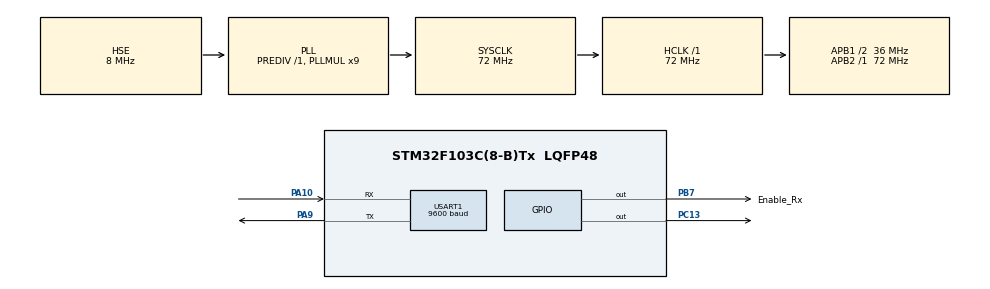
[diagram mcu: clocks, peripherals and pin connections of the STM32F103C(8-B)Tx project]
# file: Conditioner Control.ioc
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Mcu.Family=STM32F1
Mcu.Name=STM32F103C(8-B)Tx
Mcu.Package=LQFP48
NVIC.PriorityGroup=NVIC_PRIORITYGROUP_4
NVIC.USART1_IRQn=true\:0\:0\:false\:false\:true\:true\:true
PA10.Mode=Asynchronous
PA10.Signal=USART1_RX
PA13.Mode=Serial_Wire
PA13.Signal=SYS_JTMS-SWDIO
PA14.Mode=Serial_Wire
PA14.Signal=SYS_JTCK-SWCLK
PA9.Mode=Asynchronous
PA9.Signal=USART1_TX
PB7.GPIO_Label=Enable_Rx
PB7.Signal=GPIO_Output
PC13-TAMPER-RTC.Signal=GPIO_Output
PD0-OSC_IN.Mode=HSE-External-Oscillator
PD0-OSC_IN.Signal=RCC_OSC_IN
PD1-OSC_OUT.Mode=HSE-External-Oscillator
PD1-OSC_OUT.Signal=RCC_OSC_OUT
ProjectManager.HeapSize=0x200
ProjectManager.StackSize=0x400
ProjectManager.TargetToolchain=MDK-ARM V5.27
RCC.AHBFreq_Value=72000000
RCC.APB1CLKDivider=RCC_HCLK_DIV2
RCC.APB1Freq_Value=36000000
RCC.APB1TimFreq_Value=72000000
RCC.APB2Freq_Value=72000000
RCC.APB2TimFreq_Value=72000000
RCC.HCLKFreq_Value=72000000
RCC.PLLMUL=RCC_PLL_MUL9
RCC.PLLSourceVirtual=RCC_PLLSOURCE_HSE
RCC.SYSCLKFreq_VALUE=72000000
RCC.SYSCLKSource=RCC_SYSCLKSOURCE_PLLCLK
RCC.USBFreq_Value=72000000
USART1.BaudRate=9600
USART1.VirtualMode=VM_ASYNC
board=custom

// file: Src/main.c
/* USER CODE BEGIN Header */
/**
  ******************************************************************************
  * @file           : main.c
  * @brief          : Main program body
  ******************************************************************************
  * @attention
  *
  * <h2><center>&copy; Copyright (c) 2020 STMicroelectronics.
  * All rights reserved.</center></h2>
  *
  * This software component is licensed by ST under BSD 3-Clause license,
  * the "License"; You may not use this file except in compliance with the
  * License. You may obtain a copy of the License at:
  *                        opensource.org/licenses/BSD-3-Clause
  *
  ******************************************************************************
  */
/* USER CODE END Header */

#include "main.h"

/* USER CODE BEGIN Includes */
#include "string.h"
#include "stdio.h"
#include "stdlib.h"

#define ON_RX 	0
#define OFF_RX 	1
/* USER CODE END Includes */

UART_HandleTypeDef huart1;

/* USER CODE BEGIN PV */
uint8_t i = 0;

char s[10],tx[4];
uint8_t check,rx_data[10];
/* USER CODE END PV */

void SystemClock_Config(void);
static void MX_GPIO_Init(void);
static void MX_USART1_UART_Init(void);

int main(void)
{

  /* MCU Configuration--------------------------------------------------------*/

  /* Reset of all peripherals, Initializes the Flash interface and the Systick. */
  HAL_Init();

  /* Configure the system clock */
  SystemClock_Config();

  /* Initialize all configured peripherals */
  MX_GPIO_Init();
  MX_USART1_UART_Init();
  /* USER CODE BEGIN 2 */
	HAL_UART_Receive_IT(&huart1,rx_data,6);
  /* USER CODE END 2 */

  /* Infinite loop */
  while (1)
  {

  }
}

void SystemClock_Config(void)
{
  RCC_OscInitTypeDef RCC_OscInitStruct = {0};
  RCC_ClkInitTypeDef RCC_ClkInitStruct = {0};

  /** Initializes the CPU, AHB and APB busses clocks
  */
  RCC_OscInitStruct.OscillatorType = RCC_OSCILLATORTYPE_HSE;
  RCC_OscInitStruct.HSEState = RCC_HSE_ON;
  RCC_OscInitStruct.HSEPredivValue = RCC_HSE_PREDIV_DIV1;
  RCC_OscInitStruct.HSIState = RCC_HSI_ON;
  RCC_OscInitStruct.PLL.PLLState = RCC_PLL_ON;
  RCC_OscInitStruct.PLL.PLLSource = RCC_PLLSOURCE_HSE;
  RCC_OscInitStruct.PLL.PLLMUL = RCC_PLL_MUL9;
  if (HAL_RCC_OscConfig(&RCC_OscInitStruct) != HAL_OK)
  {
    Error_Handler();
  }
  /** Initializes the CPU, AHB and APB busses clocks
  */
  RCC_ClkInitStruct.ClockType = RCC_CLOCKTYPE_HCLK|RCC_CLOCKTYPE_SYSCLK
                              |RCC_CLOCKTYPE_PCLK1|RCC_CLOCKTYPE_PCLK2;
  RCC_ClkInitStruct.SYSCLKSource = RCC_SYSCLKSOURCE_PLLCLK;
  RCC_ClkInitStruct.AHBCLKDivider = RCC_SYSCLK_DIV1;
  RCC_ClkInitStruct.APB1CLKDivider = RCC_HCLK_DIV2;
  RCC_ClkInitStruct.APB2CLKDivider = RCC_HCLK_DIV1;

  if (HAL_RCC_ClockConfig(&RCC_ClkInitStruct, FLASH_LATENCY_2) != HAL_OK)
  {
    Error_Handler();
  }
}

static void MX_USART1_UART_Init(void)
{

  huart1.Instance = USART1;
  huart1.Init.BaudRate = 9600;
  huart1.Init.WordLength = UART_WORDLENGTH_8B;
  huart1.Init.StopBits = UART_STOPBITS_1;
  huart1.Init.Parity = UART_PARITY_NONE;
  huart1.Init.Mode = UART_MODE_TX_RX;
  huart1.Init.HwFlowCtl = UART_HWCONTROL_NONE;
  huart1.Init.OverSampling = UART_OVERSAMPLING_16;
  if (HAL_UART_Init(&huart1) != HAL_OK)
  {
    Error_Handler();
  }

}

static void MX_GPIO_Init(void)
{
  GPIO_InitTypeDef GPIO_InitStruct = {0};

  /* GPIO Ports Clock Enable */
  __HAL_RCC_GPIOC_CLK_ENABLE();
  __HAL_RCC_GPIOD_CLK_ENABLE();
  __HAL_RCC_GPIOA_CLK_ENABLE();
  __HAL_RCC_GPIOB_CLK_ENABLE();

  /*Configure GPIO pin Output Level */
  HAL_GPIO_WritePin(GPIOC, GPIO_PIN_13, GPIO_PIN_RESET);

  /*Configure GPIO pin Output Level */
  HAL_GPIO_WritePin(Enable_Rx_GPIO_Port, Enable_Rx_Pin, GPIO_PIN_RESET);

  /*Configure GPIO pin : PC13 */
  GPIO_InitStruct.Pin = GPIO_PIN_13;
  GPIO_InitStruct.Mode = GPIO_MODE_OUTPUT_PP;
  GPIO_InitStruct.Pull = GPIO_NOPULL;
  GPIO_InitStruct.Speed = GPIO_SPEED_FREQ_LOW;
  HAL_GPIO_Init(GPIOC, &GPIO_InitStruct);

  /*Configure GPIO pin : Enable_Rx_Pin */
  GPIO_InitStruct.Pin = Enable_Rx_Pin;
  GPIO_InitStruct.Mode = GPIO_MODE_OUTPUT_PP;
  GPIO_InitStruct.Pull = GPIO_NOPULL;
  GPIO_InitStruct.Speed = GPIO_SPEED_FREQ_LOW;
  HAL_GPIO_Init(Enable_Rx_GPIO_Port, &GPIO_InitStruct);

}

/* USER CODE BEGIN 4 */

void HAL_UART_RxCpltCallback(UART_HandleTypeDef *huart)
{
	if(huart->Instance == USART1)
	{
		if(rx_data[0] == 5)
		{
			HAL_GPIO_WritePin(Enable_Rx_GPIO_Port,Enable_Rx_Pin,OFF_RX);
			HAL_UART_Transmit(&huart1,(uint8_t*)tx,1,100);
			HAL_GPIO_WritePin(Enable_Rx_GPIO_Port,Enable_Rx_Pin,ON_RX);
			tx[0]++;
		}
		HAL_UART_Receive_IT(&huart1,rx_data,6);
	}
}

/* USER CODE END 4 */

void Error_Handler(void)
{
}

/************************ (C) COPYRIGHT STMicroelectronics *****END OF FILE****/
